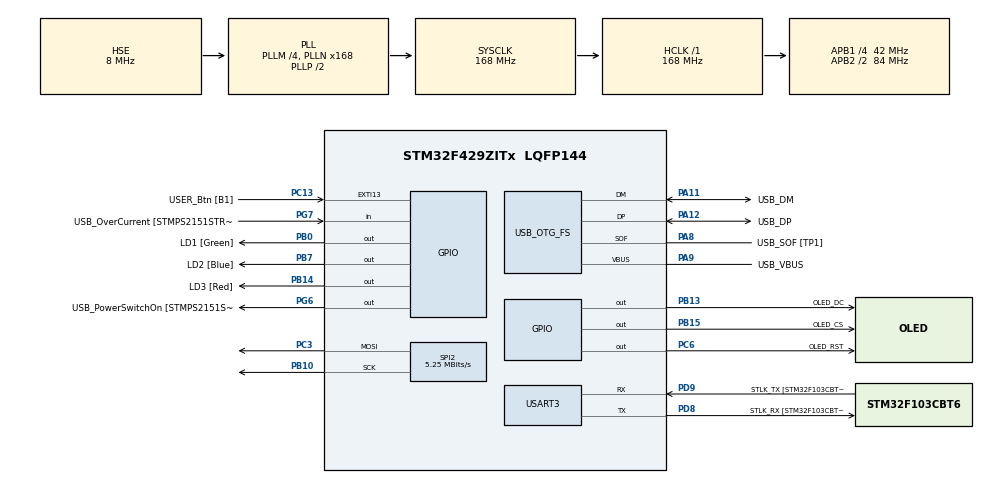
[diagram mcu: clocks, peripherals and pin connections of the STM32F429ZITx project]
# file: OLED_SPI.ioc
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Mcu.Family=STM32F4
Mcu.Name=STM32F429ZITx
Mcu.Package=LQFP144
NVIC.PriorityGroup=NVIC_PRIORITYGROUP_4
PA1.GPIO_Label=RMII_REF_CLK [LAN8742A-CZ-TR_REFCLK0]
PA1.Signal=ETH_REF_CLK
PA10.GPIO_Label=USB_ID
PA10.Signal=USB_OTG_FS_ID
PA11.GPIO_Label=USB_DM
PA11.Mode=Device_Only
PA11.Signal=USB_OTG_FS_DM
PA12.GPIO_Label=USB_DP
PA12.Mode=Device_Only
PA12.Signal=USB_OTG_FS_DP
PA13.GPIO_Label=TMS
PA13.Mode=Serial_Wire
PA13.Signal=SYS_JTMS-SWDIO
PA14.GPIO_Label=TCK
PA14.Mode=Serial_Wire
PA14.Signal=SYS_JTCK-SWCLK
PA2.GPIO_Label=RMII_MDIO [LAN8742A-CZ-TR_MDIO]
PA2.Signal=ETH_MDIO
PA7.GPIO_Label=RMII_CRS_DV [LAN8742A-CZ-TR_CRS_DV]
PA7.Signal=ETH_CRS_DV
PA8.GPIO_Label=USB_SOF [TP1]
PA8.Mode=Activate_SOF_FS
PA8.Signal=USB_OTG_FS_SOF
PA9.GPIO_Label=USB_VBUS
PA9.Mode=Activate_VBUS
PA9.Signal=USB_OTG_FS_VBUS
PB0.GPIO_Label=LD1 [Green]
PB0.Signal=GPIO_Output
PB10.Mode=TX_Only_Simplex_Unidirect_Master
PB10.Signal=SPI2_SCK
PB13.GPIO_Label=OLED_DC
PB13.GPIO_PuPd=GPIO_PULLUP
PB13.PinState=GPIO_PIN_SET
PB13.Signal=GPIO_Output
PB14.GPIO_Label=LD3 [Red]
PB14.Signal=GPIO_Output
PB15.GPIO_Label=OLED_CS
PB15.GPIO_PuPd=GPIO_PULLUP
PB15.PinState=GPIO_PIN_SET
PB15.Signal=GPIO_Output
PB7.GPIO_Label=LD2 [Blue]
PB7.Signal=GPIO_Output
PC1.GPIO_Label=RMII_MDC [LAN8742A-CZ-TR_MDC]
PC1.Signal=ETH_MDC
PC13.GPIO_Label=USER_Btn [B1]
PC13.Signal=GPXTI13
PC14/OSC32_IN.Mode=LSE-External-Oscillator
PC14/OSC32_IN.Signal=RCC_OSC32_IN
PC15/OSC32_OUT.Mode=LSE-External-Oscillator
PC15/OSC32_OUT.Signal=RCC_OSC32_OUT
PC3.Mode=TX_Only_Simplex_Unidirect_Master
PC3.Signal=SPI2_MOSI
PC4.GPIO_Label=RMII_RXD0 [LAN8742A-CZ-TR_RXD0]
PC4.Signal=ETH_RXD0
PC5.GPIO_Label=RMII_RXD1 [LAN8742A-CZ-TR_RXD1]
PC5.Signal=ETH_RXD1
PC6.GPIO_Label=OLED_RST
PC6.GPIO_PuPd=GPIO_PULLUP
PC6.PinState=GPIO_PIN_SET
PC6.Signal=GPIO_Output
PD8.GPIO_Label=STLK_RX [STM32F103CBT6_PA3]
PD8.Mode=Asynchronous
PD8.Signal=USART3_TX
PD9.GPIO_Label=STLK_TX [STM32F103CBT6_PA2]
PD9.Mode=Asynchronous
PD9.Signal=USART3_RX
PG11.GPIO_Label=RMII_TX_EN [LAN8742A-CZ-TR_TXEN]
PG11.Signal=ETH_TX_EN
PG13.GPIO_Label=RMII_TXD0 [LAN8742A-CZ-TR_TXD0]
PG13.Signal=ETH_TXD0
PG6.GPIO_Label=USB_PowerSwitchOn [STMPS2151STR_EN]
PG6.Signal=GPIO_Output
PG7.GPIO_Label=USB_OverCurrent [STMPS2151STR_FAULT]
PG7.Signal=GPIO_Input
PH0/OSC_IN.GPIO_Label=MCO [STM32F103CBT6_PA8]
PH0/OSC_IN.Mode=HSE-External-Oscillator
PH0/OSC_IN.Signal=RCC_OSC_IN
PH1/OSC_OUT.Mode=HSE-External-Oscillator
PH1/OSC_OUT.Signal=RCC_OSC_OUT
ProjectManager.HeapSize=0x200
ProjectManager.StackSize=0x400
ProjectManager.TargetToolchain=STM32CubeIDE
RCC.48MHZClocksFreq_Value=48000000
RCC.AHBFreq_Value=168000000
RCC.APB1CLKDivider=RCC_HCLK_DIV4
RCC.APB1Freq_Value=42000000
RCC.APB1TimFreq_Value=84000000
RCC.APB2CLKDivider=RCC_HCLK_DIV2
RCC.APB2Freq_Value=84000000
RCC.APB2TimCLKDivider=2
RCC.APB2TimFreq_Value=168000000
RCC.CortexFreq_Value=168000000
RCC.HCLKFreq_Value=168000000
RCC.HSE_VALUE=8000000
RCC.HSI_VALUE=16000000
RCC.PLLM=4
RCC.PLLMUL=RCC_PLL_MUL9
RCC.PLLN=168
RCC.PLLQ=7
RCC.PRESCALERUSB=RCC_USBCLKSOURCE_PLL_DIV1_5
RCC.SYSCLKFreq_VALUE=168000000
RCC.SYSCLKSource=RCC_SYSCLKSOURCE_PLLCLK
RCC.SYSCLKSourceVirtual=RCC_SYSCLKSOURCE_PLLCLK
RCC.USBFreq_Value=48000000
RCC.VCOOutputFreq_Value=336000000
SPI2.BaudRatePrescaler=SPI_BAUDRATEPRESCALER_8
SPI2.CalculateBaudRate=5.25 MBits/s
SPI2.Direction=SPI_DIRECTION_2LINES
SPI2.Mode=SPI_MODE_MASTER
SPI2.VirtualType=VM_MASTER
USART3.VirtualMode=VM_ASYNC
USB_OTG_FS.VirtualMode=Device_Only
board=NUCLEO-F429ZI

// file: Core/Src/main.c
/* USER CODE BEGIN Header */
/**
  ******************************************************************************
  * @file           : main.c
  * @brief          : Main program body
  ******************************************************************************
  * @attention
  *
  * Copyright (c) 2023 STMicroelectronics.
  * All rights reserved.
  *
  * This software is licensed under terms that can be found in the LICENSE file
  * in the root directory of this software component.
  * If no LICENSE file comes with this software, it is provided AS-IS.
  *
  ******************************************************************************
  */
/* USER CODE END Header */
#include "main.h"

/* USER CODE BEGIN Includes */
#include "stm32f4xx_hal.h"
#include "u8g2.h"
/* USER CODE END Includes */

SPI_HandleTypeDef hspi2;

UART_HandleTypeDef huart3;

PCD_HandleTypeDef hpcd_USB_OTG_FS;

/* USER CODE BEGIN PV */
#define bitmap_width 128
#define bitmap_height 64
static unsigned char bitmap[] = {// 'HELLO', 128x64px
		0xff, 0xff, 0xff, 0xff, 0xff, 0xff, 0xff, 0xff, 0xff, 0xff, 0xff, 0xff, 0xff, 0xff, 0xff, 0xff,
		0xff, 0xff, 0xff, 0xff, 0xff, 0xff, 0xff, 0xff, 0xff, 0xff, 0xff, 0xff, 0xff, 0xff, 0xff, 0xff,
		0xff, 0xff, 0xff, 0xff, 0xff, 0xff, 0xff, 0xff, 0xff, 0xff, 0xff, 0xff, 0xff, 0xff, 0xff, 0xff,
		0xff, 0xff, 0xff, 0xff, 0xff, 0xff, 0xff, 0xff, 0xff, 0xff, 0xff, 0xff, 0xff, 0xff, 0xff, 0xff,
		0xff, 0xff, 0xff, 0xff, 0xff, 0xff, 0xff, 0xff, 0xff, 0xff, 0xff, 0xff, 0xff, 0xff, 0xff, 0xff,
		0xff, 0xff, 0xff, 0xff, 0xff, 0xff, 0xff, 0xff, 0xff, 0xff, 0xff, 0xff, 0xff, 0xff, 0xff, 0xff,
		0xff, 0xff, 0xff, 0xff, 0xff, 0xff, 0xff, 0xff, 0xff, 0xff, 0xff, 0xff, 0xff, 0xff, 0xff, 0xff,
		0xff, 0xff, 0xff, 0xff, 0xff, 0xff, 0xff, 0xff, 0xff, 0xff, 0xff, 0xff, 0xff, 0xff, 0xff, 0xff,
		0xff, 0xff, 0xff, 0xff, 0xff, 0xff, 0xff, 0xff, 0xff, 0xff, 0xff, 0xff, 0xff, 0xff, 0xff, 0xff,
		0xff, 0xff, 0xff, 0xff, 0xff, 0xff, 0xff, 0xff, 0xff, 0xff, 0xff, 0xff, 0xff, 0xff, 0xff, 0xff,
		0xff, 0xff, 0xff, 0xff, 0xff, 0xff, 0xff, 0xff, 0xff, 0xff, 0xff, 0xff, 0xff, 0xff, 0xff, 0xff,
		0xff, 0xff, 0xff, 0xff, 0xff, 0xff, 0xff, 0xff, 0xff, 0xff, 0xff, 0xff, 0xff, 0xff, 0xff, 0xff,
		0xff, 0xff, 0xff, 0xff, 0xff, 0xff, 0xff, 0xff, 0xff, 0xff, 0xff, 0xff, 0xff, 0xff, 0xff, 0xff,
		0xff, 0xff, 0xff, 0xff, 0xff, 0xff, 0xff, 0xff, 0xff, 0xff, 0xff, 0xff, 0xff, 0xff, 0xff, 0xff,
		0xff, 0xff, 0xff, 0xff, 0xff, 0xff, 0xff, 0xff, 0xff, 0xff, 0xff, 0xff, 0xff, 0xff, 0xff, 0xff,
		0xff, 0xff, 0xff, 0xff, 0xff, 0xff, 0xff, 0xff, 0xff, 0xff, 0xff, 0xff, 0xff, 0xff, 0xff, 0xff,
		0xff, 0xff, 0xff, 0xff, 0xff, 0xff, 0xff, 0xff, 0xff, 0xff, 0xff, 0xff, 0xff, 0xff, 0xff, 0xff,
		0xff, 0xff, 0xff, 0xff, 0xff, 0xff, 0xff, 0xff, 0xff, 0xff, 0xff, 0xff, 0xff, 0xff, 0xff, 0xff,
		0xff, 0xff, 0xff, 0xff, 0xff, 0xff, 0xff, 0xff, 0xff, 0xff, 0xff, 0xff, 0xff, 0xff, 0xff, 0xff,
		0xff, 0xff, 0xff, 0xff, 0xff, 0xff, 0xff, 0xff, 0xff, 0xff, 0xff, 0xff, 0xff, 0xff, 0xff, 0xff,
		0xff, 0xff, 0xff, 0xff, 0xff, 0xff, 0xff, 0xff, 0xff, 0xff, 0xff, 0xff, 0xff, 0xff, 0xff, 0xff,
		0xff, 0xff, 0xff, 0xff, 0xff, 0xff, 0xff, 0xff, 0xff, 0xff, 0xff, 0xff, 0xff, 0xff, 0xff, 0xff,
		0xff, 0xff, 0xff, 0xff, 0xff, 0xff, 0xff, 0xff, 0xff, 0xff, 0xff, 0xff, 0xff, 0xff, 0xff, 0xff,
		0xff, 0xff, 0xff, 0xff, 0xff, 0xff, 0xff, 0xff, 0xff, 0xff, 0xff, 0xff, 0xff, 0xff, 0xff, 0xff,
		0xff, 0xff, 0xff, 0xff, 0xff, 0xff, 0xff, 0xff, 0xff, 0xff, 0xff, 0xff, 0xff, 0xff, 0xff, 0xff,
		0xff, 0xff, 0xff, 0xff, 0xff, 0xff, 0xff, 0xff, 0xff, 0xff, 0xff, 0xff, 0xff, 0xff, 0xff, 0xff,
		0xff, 0xff, 0xff, 0xbf, 0xbc, 0x0e, 0xff, 0x7f, 0xf0, 0x7e, 0xff, 0xff, 0xff, 0xff, 0xff, 0xff,
		0xff, 0xff, 0xff, 0xbf, 0xbd, 0xfe, 0xff, 0x7f, 0xcf, 0x3e, 0xff, 0xff, 0xff, 0xff, 0xff, 0xff,
		0xff, 0xff, 0xff, 0xbf, 0xbd, 0xfe, 0xff, 0x7f, 0x9f, 0xde, 0xff, 0xff, 0xff, 0xff, 0xff, 0xff,
		0xff, 0xff, 0xff, 0xbf, 0xbd, 0xfe, 0xff, 0x7f, 0xbf, 0xce, 0xff, 0xff, 0xff, 0xff, 0xff, 0xff,
		0xff, 0xff, 0xff, 0xbf, 0xbd, 0xfe, 0xff, 0x7f, 0x3f, 0xee, 0xff, 0xff, 0xff, 0xff, 0xff, 0xff,
		0xff, 0xff, 0xff, 0xbf, 0xbd, 0xfe, 0xff, 0x7f, 0x7f, 0xee, 0xff, 0xff, 0xff, 0xff, 0xff, 0xff,
		0xff, 0xff, 0xff, 0x80, 0x3c, 0x0e, 0xff, 0x7f, 0x7f, 0xee, 0xff, 0xff, 0xff, 0xff, 0xff, 0xff,
		0xff, 0xff, 0xff, 0xbf, 0xbd, 0xfe, 0xff, 0x7f, 0x7f, 0xee, 0xff, 0xff, 0xff, 0xff, 0xff, 0xff,
		0xff, 0xff, 0xff, 0xbf, 0xbd, 0xfe, 0xff, 0x7f, 0x3f, 0xee, 0xff, 0xff, 0xff, 0xff, 0xff, 0xff,
		0xff, 0xff, 0xff, 0xbf, 0xbd, 0xfe, 0xff, 0x7f, 0xbf, 0xcf, 0xff, 0xff, 0xff, 0xff, 0xff, 0xff,
		0xff, 0xff, 0xff, 0xbf, 0xbd, 0xfe, 0xff, 0x7f, 0x9f, 0xdf, 0xff, 0xff, 0xff, 0xff, 0xff, 0xff,
		0xff, 0xff, 0xff, 0xbf, 0xbd, 0xfe, 0xff, 0x7f, 0xcf, 0x3e, 0xff, 0xff, 0xff, 0xff, 0xff, 0xff,
		0xff, 0xff, 0xff, 0xbf, 0xbc, 0x06, 0x03, 0x01, 0xe0, 0xfe, 0xff, 0xff, 0xff, 0xff, 0xff, 0xff,
		0xff, 0xff, 0xff, 0xff, 0xff, 0xff, 0xff, 0xff, 0xff, 0xff, 0xff, 0xff, 0xff, 0xff, 0xff, 0xff,
		0xff, 0xff, 0xff, 0xff, 0xff, 0xff, 0xff, 0xff, 0xff, 0xff, 0xff, 0xff, 0xff, 0xff, 0xff, 0xff,
		0xff, 0xff, 0xff, 0xff, 0xff, 0xff, 0xff, 0xff, 0xff, 0xff, 0xff, 0xff, 0xff, 0xff, 0xff, 0xff,
		0xff, 0xff, 0xff, 0xff, 0xff, 0xff, 0xff, 0xff, 0xff, 0xff, 0xfe, 0x1f, 0xff, 0xff, 0xff, 0xff,
		0xff, 0xff, 0xff, 0xfc, 0x3f, 0xff, 0xff, 0xff, 0xff, 0xff, 0xfc, 0xef, 0xff, 0xff, 0xff, 0xff,
		0xff, 0xff, 0xff, 0xf1, 0xcf, 0xff, 0xff, 0xff, 0xff, 0xff, 0xf9, 0xe7, 0xff, 0xff, 0xff, 0xff,
		0xff, 0xff, 0xff, 0xcf, 0xef, 0xff, 0xff, 0xff, 0xff, 0xff, 0xfb, 0xf8, 0x7f, 0xff, 0xff, 0xff,
		0xff, 0xff, 0xff, 0xbf, 0xf3, 0xff, 0xff, 0xff, 0xff, 0xff, 0xf7, 0xff, 0xff, 0xff, 0xff, 0xff,
		0xff, 0xff, 0xff, 0x3f, 0xf9, 0xf8, 0x00, 0x03, 0xfe, 0x1f, 0xe7, 0xff, 0xff, 0xff, 0xff, 0xff,
		0xff, 0xff, 0xff, 0x7f, 0xfe, 0x03, 0xff, 0xf9, 0xe1, 0xe7, 0xdf, 0xff, 0xff, 0xff, 0xff, 0xff,
		0xff, 0xff, 0xff, 0xff, 0xff, 0xff, 0xff, 0xfd, 0xcf, 0xfb, 0x9f, 0xff, 0xff, 0xff, 0xff, 0xff,
		0xff, 0xff, 0xff, 0xff, 0xff, 0xff, 0xff, 0xfe, 0xdf, 0xf8, 0x3f, 0xff, 0xff, 0xff, 0xff, 0xff,
		0xff, 0xff, 0xff, 0xff, 0xff, 0xff, 0xff, 0xff, 0x3f, 0xff, 0xff, 0xff, 0xff, 0xff, 0xff, 0xff,
		0xff, 0xff, 0xff, 0xff, 0xff, 0xff, 0xff, 0xff, 0xff, 0xff, 0xff, 0xff, 0xff, 0xff, 0xff, 0xff,
		0xff, 0xff, 0xff, 0xff, 0xff, 0xff, 0xff, 0xff, 0xff, 0xff, 0xff, 0xff, 0xff, 0xff, 0xff, 0xff,
		0xff, 0xff, 0xff, 0xff, 0xff, 0xff, 0xff, 0xff, 0xff, 0xff, 0xff, 0xff, 0xff, 0xff, 0xff, 0xff,
		0xff, 0xff, 0xff, 0xff, 0xff, 0xff, 0xff, 0xff, 0xff, 0xff, 0xff, 0xff, 0xff, 0xff, 0xff, 0xff,
		0xff, 0xff, 0xff, 0xff, 0xff, 0xff, 0xff, 0xff, 0xff, 0xff, 0xff, 0xff, 0xff, 0xff, 0xff, 0xff,
		0xff, 0xff, 0xff, 0xff, 0xff, 0xff, 0xff, 0xff, 0xff, 0xff, 0xff, 0xff, 0xff, 0xff, 0xff, 0xff,
		0xff, 0xff, 0xff, 0xff, 0xff, 0xff, 0xff, 0xff, 0xff, 0xff, 0xff, 0xff, 0xff, 0xff, 0xff, 0xff,
		0xff, 0xff, 0xff, 0xff, 0xff, 0xff, 0xff, 0xff, 0xff, 0xff, 0xff, 0xff, 0xff, 0xff, 0xff, 0xff,
		0xff, 0xff, 0xff, 0xff, 0xff, 0xff, 0xff, 0xff, 0xff, 0xff, 0xff, 0xff, 0xff, 0xff, 0xff, 0xff,
		0xff, 0xff, 0xff, 0xff, 0xff, 0xff, 0xff, 0xff, 0xff, 0xff, 0xff, 0xff, 0xff, 0xff, 0xff, 0xff,
		0xff, 0xff, 0xff, 0xff, 0xff, 0xff, 0xff, 0xff, 0xff, 0xff, 0xff, 0xff, 0xff, 0xff, 0xff, 0xff,
		0xff, 0xff, 0xff, 0xff, 0xff, 0xff, 0xff, 0xff, 0xff, 0xff, 0xff, 0xff, 0xff, 0xff, 0xff, 0xff};
extern uint8_t u8x8_stm32_gpio_and_delay(u8x8_t *u8x8, uint8_t msg, uint8_t arg_int, void *arg_ptr);
extern uint8_t u8x8_byte_stm32_hw_spi(u8x8_t *u8x8, uint8_t msg, uint8_t arg_int, void *arg_ptr);

static u8g2_t u8g2;
/* USER CODE END PV */

void SystemClock_Config(void);
static void MX_GPIO_Init(void);
static void MX_USART3_UART_Init(void);
static void MX_USB_OTG_FS_PCD_Init(void);
static void MX_SPI2_Init(void);

int main(void)
{

  /* MCU Configuration--------------------------------------------------------*/

  /* Reset of all peripherals, Initializes the Flash interface and the Systick. */
  HAL_Init();

  /* Configure the system clock */
  SystemClock_Config();

  /* Initialize all configured peripherals */
  MX_GPIO_Init();
  MX_USART3_UART_Init();
  MX_USB_OTG_FS_PCD_Init();
  MX_SPI2_Init();
  /* USER CODE BEGIN 2 */
  u8g2_Setup_ssd1306_128x64_noname_f(&u8g2, U8G2_R0, u8x8_byte_stm32_hw_spi, u8x8_stm32_gpio_and_delay);

  u8g2_InitDisplay(&u8g2);
  u8g2_SetPowerSave(&u8g2, 0);

  /* USER CODE END 2 */

  /* Infinite loop */
  /* USER CODE BEGIN WHILE */

  while (1)
  {
	  u8g2_FirstPage(&u8g2);
	  		do
	  		{
	  			u8g2_ClearBuffer(&u8g2);
	  			u8g2_SetDrawColor(&u8g2,1);
	  			u8g2_SetBitmapMode(&u8g2,1);
	  			u8g2_DrawBitmap(&u8g2, 0, 0, 16, bitmap_height,bitmap);

	  		} while (u8g2_NextPage(&u8g2));

    /* USER CODE END WHILE */

  }
}

void SystemClock_Config(void)
{
  RCC_OscInitTypeDef RCC_OscInitStruct = {0};
  RCC_ClkInitTypeDef RCC_ClkInitStruct = {0};

  /** Configure the main internal regulator output voltage
  */
  __HAL_RCC_PWR_CLK_ENABLE();
  __HAL_PWR_VOLTAGESCALING_CONFIG(PWR_REGULATOR_VOLTAGE_SCALE1);

  /** Initializes the RCC Oscillators according to the specified parameters
  * in the RCC_OscInitTypeDef structure.
  */
  RCC_OscInitStruct.OscillatorType = RCC_OSCILLATORTYPE_HSE;
  RCC_OscInitStruct.HSEState = RCC_HSE_ON;
  RCC_OscInitStruct.PLL.PLLState = RCC_PLL_ON;
  RCC_OscInitStruct.PLL.PLLSource = RCC_PLLSOURCE_HSE;
  RCC_OscInitStruct.PLL.PLLM = 4;
  RCC_OscInitStruct.PLL.PLLN = 168;
  RCC_OscInitStruct.PLL.PLLP = RCC_PLLP_DIV2;
  RCC_OscInitStruct.PLL.PLLQ = 7;
  if (HAL_RCC_OscConfig(&RCC_OscInitStruct) != HAL_OK)
  {
    Error_Handler();
  }

  /** Initializes the CPU, AHB and APB buses clocks
  */
  RCC_ClkInitStruct.ClockType = RCC_CLOCKTYPE_HCLK|RCC_CLOCKTYPE_SYSCLK
                              |RCC_CLOCKTYPE_PCLK1|RCC_CLOCKTYPE_PCLK2;
  RCC_ClkInitStruct.SYSCLKSource = RCC_SYSCLKSOURCE_PLLCLK;
  RCC_ClkInitStruct.AHBCLKDivider = RCC_SYSCLK_DIV1;
  RCC_ClkInitStruct.APB1CLKDivider = RCC_HCLK_DIV4;
  RCC_ClkInitStruct.APB2CLKDivider = RCC_HCLK_DIV2;

  if (HAL_RCC_ClockConfig(&RCC_ClkInitStruct, FLASH_LATENCY_5) != HAL_OK)
  {
    Error_Handler();
  }
}

static void MX_SPI2_Init(void)
{

  /* SPI2 parameter configuration*/
  hspi2.Instance = SPI2;
  hspi2.Init.Mode = SPI_MODE_MASTER;
  hspi2.Init.Direction = SPI_DIRECTION_2LINES;
  hspi2.Init.DataSize = SPI_DATASIZE_8BIT;
  hspi2.Init.CLKPolarity = SPI_POLARITY_LOW;
  hspi2.Init.CLKPhase = SPI_PHASE_1EDGE;
  hspi2.Init.NSS = SPI_NSS_SOFT;
  hspi2.Init.BaudRatePrescaler = SPI_BAUDRATEPRESCALER_8;
  hspi2.Init.FirstBit = SPI_FIRSTBIT_MSB;
  hspi2.Init.TIMode = SPI_TIMODE_DISABLE;
  hspi2.Init.CRCCalculation = SPI_CRCCALCULATION_DISABLE;
  hspi2.Init.CRCPolynomial = 10;
  if (HAL_SPI_Init(&hspi2) != HAL_OK)
  {
    Error_Handler();
  }

}

static void MX_USART3_UART_Init(void)
{

  huart3.Instance = USART3;
  huart3.Init.BaudRate = 115200;
  huart3.Init.WordLength = UART_WORDLENGTH_8B;
  huart3.Init.StopBits = UART_STOPBITS_1;
  huart3.Init.Parity = UART_PARITY_NONE;
  huart3.Init.Mode = UART_MODE_TX_RX;
  huart3.Init.HwFlowCtl = UART_HWCONTROL_NONE;
  huart3.Init.OverSampling = UART_OVERSAMPLING_16;
  if (HAL_UART_Init(&huart3) != HAL_OK)
  {
    Error_Handler();
  }

}

static void MX_USB_OTG_FS_PCD_Init(void)
{

  hpcd_USB_OTG_FS.Instance = USB_OTG_FS;
  hpcd_USB_OTG_FS.Init.dev_endpoints = 4;
  hpcd_USB_OTG_FS.Init.speed = PCD_SPEED_FULL;
  hpcd_USB_OTG_FS.Init.dma_enable = DISABLE;
  hpcd_USB_OTG_FS.Init.phy_itface = PCD_PHY_EMBEDDED;
  hpcd_USB_OTG_FS.Init.Sof_enable = ENABLE;
  hpcd_USB_OTG_FS.Init.low_power_enable = DISABLE;
  hpcd_USB_OTG_FS.Init.lpm_enable = DISABLE;
  hpcd_USB_OTG_FS.Init.vbus_sensing_enable = ENABLE;
  hpcd_USB_OTG_FS.Init.use_dedicated_ep1 = DISABLE;
  if (HAL_PCD_Init(&hpcd_USB_OTG_FS) != HAL_OK)
  {
    Error_Handler();
  }

}

static void MX_GPIO_Init(void)
{
  GPIO_InitTypeDef GPIO_InitStruct = {0};

  /* GPIO Ports Clock Enable */
  __HAL_RCC_GPIOC_CLK_ENABLE();
  __HAL_RCC_GPIOH_CLK_ENABLE();
  __HAL_RCC_GPIOA_CLK_ENABLE();
  __HAL_RCC_GPIOB_CLK_ENABLE();
  __HAL_RCC_GPIOD_CLK_ENABLE();
  __HAL_RCC_GPIOG_CLK_ENABLE();

  /*Configure GPIO pin Output Level */
  HAL_GPIO_WritePin(GPIOB, LD1_Pin|LD3_Pin|LD2_Pin, GPIO_PIN_RESET);

  /*Configure GPIO pin Output Level */
  HAL_GPIO_WritePin(GPIOB, OLED_DC_Pin|OLED_CS_Pin, GPIO_PIN_SET);

  /*Configure GPIO pin Output Level */
  HAL_GPIO_WritePin(USB_PowerSwitchOn_GPIO_Port, USB_PowerSwitchOn_Pin, GPIO_PIN_RESET);

  /*Configure GPIO pin Output Level */
  HAL_GPIO_WritePin(OLED_RST_GPIO_Port, OLED_RST_Pin, GPIO_PIN_SET);

  /*Configure GPIO pin : USER_Btn_Pin */
  GPIO_InitStruct.Pin = USER_Btn_Pin;
  GPIO_InitStruct.Mode = GPIO_MODE_IT_RISING;
  GPIO_InitStruct.Pull = GPIO_NOPULL;
  HAL_GPIO_Init(USER_Btn_GPIO_Port, &GPIO_InitStruct);

  /*Configure GPIO pins : RMII_MDC_Pin RMII_RXD0_Pin RMII_RXD1_Pin */
  GPIO_InitStruct.Pin = RMII_MDC_Pin|RMII_RXD0_Pin|RMII_RXD1_Pin;
  GPIO_InitStruct.Mode = GPIO_MODE_AF_PP;
  GPIO_InitStruct.Pull = GPIO_NOPULL;
  GPIO_InitStruct.Speed = GPIO_SPEED_FREQ_VERY_HIGH;
  GPIO_InitStruct.Alternate = GPIO_AF11_ETH;
  HAL_GPIO_Init(GPIOC, &GPIO_InitStruct);

  /*Configure GPIO pins : RMII_REF_CLK_Pin RMII_MDIO_Pin RMII_CRS_DV_Pin */
  GPIO_InitStruct.Pin = RMII_REF_CLK_Pin|RMII_MDIO_Pin|RMII_CRS_DV_Pin;
  GPIO_InitStruct.Mode = GPIO_MODE_AF_PP;
  GPIO_InitStruct.Pull = GPIO_NOPULL;
  GPIO_InitStruct.Speed = GPIO_SPEED_FREQ_VERY_HIGH;
  GPIO_InitStruct.Alternate = GPIO_AF11_ETH;
  HAL_GPIO_Init(GPIOA, &GPIO_InitStruct);

  /*Configure GPIO pins : LD1_Pin LD3_Pin LD2_Pin */
  GPIO_InitStruct.Pin = LD1_Pin|LD3_Pin|LD2_Pin;
  GPIO_InitStruct.Mode = GPIO_MODE_OUTPUT_PP;
  GPIO_InitStruct.Pull = GPIO_NOPULL;
  GPIO_InitStruct.Speed = GPIO_SPEED_FREQ_LOW;
  HAL_GPIO_Init(GPIOB, &GPIO_InitStruct);

  /*Configure GPIO pins : OLED_DC_Pin OLED_CS_Pin */
  GPIO_InitStruct.Pin = OLED_DC_Pin|OLED_CS_Pin;
  GPIO_InitStruct.Mode = GPIO_MODE_OUTPUT_PP;
  GPIO_InitStruct.Pull = GPIO_PULLUP;
  GPIO_InitStruct.Speed = GPIO_SPEED_FREQ_LOW;
  HAL_GPIO_Init(GPIOB, &GPIO_InitStruct);

  /*Configure GPIO pin : USB_PowerSwitchOn_Pin */
  GPIO_InitStruct.Pin = USB_PowerSwitchOn_Pin;
  GPIO_InitStruct.Mode = GPIO_MODE_OUTPUT_PP;
  GPIO_InitStruct.Pull = GPIO_NOPULL;
  GPIO_InitStruct.Speed = GPIO_SPEED_FREQ_LOW;
  HAL_GPIO_Init(USB_PowerSwitchOn_GPIO_Port, &GPIO_InitStruct);

  /*Configure GPIO pin : USB_OverCurrent_Pin */
  GPIO_InitStruct.Pin = USB_OverCurrent_Pin;
  GPIO_InitStruct.Mode = GPIO_MODE_INPUT;
  GPIO_InitStruct.Pull = GPIO_NOPULL;
  HAL_GPIO_Init(USB_OverCurrent_GPIO_Port, &GPIO_InitStruct);

  /*Configure GPIO pin : OLED_RST_Pin */
  GPIO_InitStruct.Pin = OLED_RST_Pin;
  GPIO_InitStruct.Mode = GPIO_MODE_OUTPUT_PP;
  GPIO_InitStruct.Pull = GPIO_PULLUP;
  GPIO_InitStruct.Speed = GPIO_SPEED_FREQ_LOW;
  HAL_GPIO_Init(OLED_RST_GPIO_Port, &GPIO_InitStruct);

  /*Configure GPIO pins : RMII_TX_EN_Pin RMII_TXD0_Pin */
  GPIO_InitStruct.Pin = RMII_TX_EN_Pin|RMII_TXD0_Pin;
  GPIO_InitStruct.Mode = GPIO_MODE_AF_PP;
  GPIO_InitStruct.Pull = GPIO_NOPULL;
  GPIO_InitStruct.Speed = GPIO_SPEED_FREQ_VERY_HIGH;
  GPIO_InitStruct.Alternate = GPIO_AF11_ETH;
  HAL_GPIO_Init(GPIOG, &GPIO_InitStruct);

}

void Error_Handler(void)
{
  __disable_irq();
  while (1)
  {
  }
}
